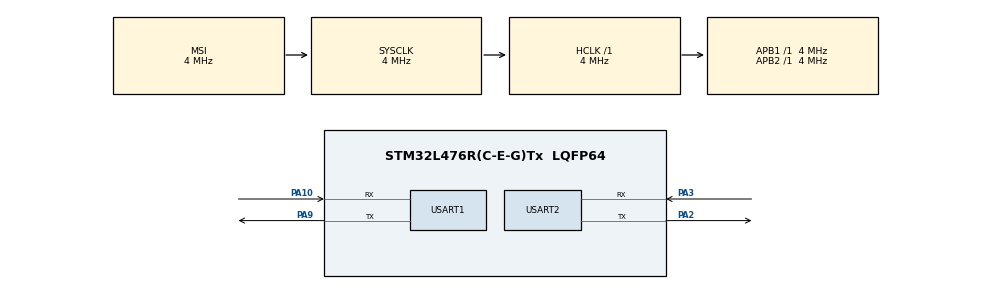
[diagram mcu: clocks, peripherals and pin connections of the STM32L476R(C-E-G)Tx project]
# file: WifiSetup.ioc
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Mcu.Family=STM32L4
Mcu.Name=STM32L476R(C-E-G)Tx
Mcu.Package=LQFP64
NVIC.PriorityGroup=NVIC_PRIORITYGROUP_4
PA10.Mode=Asynchronous
PA10.Signal=USART1_RX
PA2.Mode=Asynchronous
PA2.Signal=USART2_TX
PA3.Mode=Asynchronous
PA3.Signal=USART2_RX
PA9.Mode=Asynchronous
PA9.Signal=USART1_TX
ProjectManager.HeapSize=0x200
ProjectManager.StackSize=0x400
ProjectManager.TargetToolchain=STM32CubeIDE
RCC.ADCFreq_Value=16000000
RCC.AHBFreq_Value=4000000
RCC.APB1Freq_Value=4000000
RCC.APB1TimFreq_Value=4000000
RCC.APB2Freq_Value=4000000
RCC.APB2TimFreq_Value=4000000
RCC.CortexFreq_Value=4000000
RCC.HCLKFreq_Value=4000000
RCC.HSE_VALUE=8000000
RCC.HSI_VALUE=16000000
RCC.LSE_VALUE=32768
RCC.MSI_VALUE=4000000
RCC.SYSCLKFreq_VALUE=4000000
RCC.USBFreq_Value=16000000
RCC.VCOOutputFreq_Value=32000000
USART1.VirtualMode-Asynchronous=VM_ASYNC
USART2.VirtualMode-Asynchronous=VM_ASYNC
board=custom

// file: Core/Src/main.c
/* USER CODE BEGIN Header */
/**
  ******************************************************************************
  * @file           : main.c
  * @brief          : Main program body
  ******************************************************************************
  * @attention
  *
  * Copyright (c) 2023 STMicroelectronics.
  * All rights reserved.
  *
  * This software is licensed under terms that can be found in the LICENSE file
  * in the root directory of this software component.
  * If no LICENSE file comes with this software, it is provided AS-IS.
  *
  ******************************************************************************
  */
/* USER CODE END Header */
#include "main.h"
/* USER CODE BEGIN Includes */
#include "stdio.h"
#include "string.h"
#include <stdbool.h>
/* USER CODE END Includes */

UART_HandleTypeDef huart1;
UART_HandleTypeDef huart2;

/* USER CODE BEGIN PV */
char* wifi = "UCSB";
char* password = "Af4398R2RsgTYe2";
uint8_t ESP8266_rxBuffer[200] = {0};
uint8_t ESP8266_rxCNT = 0;
uint8_t rxDone = 0;
char response[256];
volatile uint8_t rx_complete = 0;
/* USER CODE END PV */

void SystemClock_Config(void);
static void MX_GPIO_Init(void);
static void MX_USART2_UART_Init(void);
static void MX_USART1_UART_Init(void);
/* USER CODE BEGIN PFP */

void PC_SendMessage(const char *message) {
	HAL_UART_Transmit(&huart2, (uint8_t*)message, strlen(message), HAL_MAX_DELAY);
}

void ESP_SendCommand(const char *command) {
  memset(response, 0, sizeof(response));
  HAL_UART_Transmit(&huart1, (uint8_t *)command, strlen(command), HAL_MAX_DELAY);
}

void ConnectToWifi() {
  ESP_SendCommand("AT+CWMODE=1\r\n");
  // Wait for a brief period for the ESP01 to respond
  HAL_Delay(1000);
  ESP_SendCommand("AT+CWJAP=\"UCSB\",\"Af4398R2RsgTYe2\"\r\n");
  HAL_Delay(1000);
  PC_SendMessage("Connected to Wifi");
}

void MQTT_Connect(const char *hostname, const char *deviceID, const char *sasToken) {
  char connectMsg[300];
  sprintf(connectMsg, "AT+CIPSTART=\"TCP\",\"%s\",8883\r\n", hostname);
  ESP_SendCommand(connectMsg);

  sprintf(connectMsg, "AT+CIPSEND=%d\r\n", 227);
  ESP_SendCommand(connectMsg);

  sprintf(connectMsg,
          "%s%s%s%s",
          "\x10\xD0\x00\x04\x4D\x51\x54\x54\x04\x02\x00\x0A\x00\x30",
		  deviceID,
          "\x00\x3F",
          sasToken);
  ESP_SendCommand(connectMsg);
  HAL_Delay(1000);  // Adjust delay based on ESP response time
}

void MQTT_Publish(const char *topic, const char *message) {
  char publishMsg[300];

  sprintf(publishMsg, "AT+CIPSEND=%d\r\n", 44 +strlen(message));
  ESP_SendCommand(publishMsg);

  sprintf(publishMsg,
          "%s%s%s",
          "\x32\x00\x0F",
          topic,
		  message);
  ESP_SendCommand(publishMsg);
  HAL_Delay(1000);  // Adjust delay based on ESP response time

  // Sending actual message
  ESP_SendCommand(message);
  HAL_Delay(1000);  // Adjust delay based on ESP response time
}

void HAL_UART_RxCpltCallback(UART_HandleTypeDef *huart)
{
	ESP8266_rxCNT++;

	if(ESP8266_rxCNT > 198) // Catch overflow
	{
		ESP8266_rxCNT = 1;
	}
	else if(ESP8266_rxBuffer[0] == 0x0D) // CR detected
	{
		rxDone = 1;
	}

	ESP8266_rxBuffer[ESP8266_rxCNT] = ESP8266_rxBuffer[0];

    HAL_UART_Receive_IT(&huart1, ESP8266_rxBuffer, 1);
}
/* USER CODE END PFP */

int main(void)
{

  /* MCU Configuration--------------------------------------------------------*/

  /* Reset of all peripherals, Initializes the Flash interface and the Systick. */
  HAL_Init();

  /* Configure the system clock */
  SystemClock_Config();

  /* Initialize all configured peripherals */
  MX_GPIO_Init();
  MX_USART2_UART_Init();
  MX_USART1_UART_Init();
  /* USER CODE BEGIN 2 */
  ConnectToWifi();

//  HAL_UART_Transmit(&huart2, "Connecting to Wifi...\n", strlen("Connecting to Wifi...\n"), 1000);
//  HAL_UART_Receive_IT(&huart1, ESP8266_rxBuffer, 1);
//  ConnectToWifi();
//  PC_SendMessage("Press button to send message to Azure...\n");
//  const char *message = "Hello from STM32L476RG!";
  //sendMessageToAzureIoTHub(message);
	// Connect to Azure IoT Hub using MQTT
//  connectToAzureIoTHubMQTT();
    /* USER CODE END 2 */

  /* Infinite loop */
  /* USER CODE BEGIN WHILE */
  // Start MQTT connection
  // MQTT Message Sending
  char * SASgenerate = "HostName=CapstoneProject.azure-devices.net;DeviceId=JackSTM;SharedAccessSignature=SharedAccessSignature sr=CapstoneProject.azure-devices.net%2Fdevices%2FJackSTM&sig=KWkl9QPqjwqnjv%2Ba2SfxN1npAdjidrc8F%2F%2BimJniyHA%3D&se=60000001707176904";
  char * SASToken = "SharedAccessSignature sr=CapstoneProject.azure-devices.net%2Fdevices%2FJackSTM&sig=KWkl9QPqjwqnjv%2Ba2SfxN1npAdjidrc8F%2F%2BimJniyHA%3D&se=60000001707176904";
  MQTT_Connect("CapstoneProject.azure-devices.net", "JackSTM", SASToken);

  while (1)
  {
    /* USER CODE END WHILE */
	  MQTT_Publish("devices/JackSTM/messages/events/", "Hello, Azure IoT Hub!");
	  HAL_Delay(5000);
  }
}

void SystemClock_Config(void)
{
  RCC_OscInitTypeDef RCC_OscInitStruct = {0};
  RCC_ClkInitTypeDef RCC_ClkInitStruct = {0};

  /** Configure the main internal regulator output voltage
  */
  if (HAL_PWREx_ControlVoltageScaling(PWR_REGULATOR_VOLTAGE_SCALE1) != HAL_OK)
  {
    Error_Handler();
  }

  /** Initializes the RCC Oscillators according to the specified parameters
  * in the RCC_OscInitTypeDef structure.
  */
  RCC_OscInitStruct.OscillatorType = RCC_OSCILLATORTYPE_MSI;
  RCC_OscInitStruct.MSIState = RCC_MSI_ON;
  RCC_OscInitStruct.MSICalibrationValue = 0;
  RCC_OscInitStruct.MSIClockRange = RCC_MSIRANGE_6;
  RCC_OscInitStruct.PLL.PLLState = RCC_PLL_NONE;
  if (HAL_RCC_OscConfig(&RCC_OscInitStruct) != HAL_OK)
  {
    Error_Handler();
  }

  /** Initializes the CPU, AHB and APB buses clocks
  */
  RCC_ClkInitStruct.ClockType = RCC_CLOCKTYPE_HCLK|RCC_CLOCKTYPE_SYSCLK
                              |RCC_CLOCKTYPE_PCLK1|RCC_CLOCKTYPE_PCLK2;
  RCC_ClkInitStruct.SYSCLKSource = RCC_SYSCLKSOURCE_MSI;
  RCC_ClkInitStruct.AHBCLKDivider = RCC_SYSCLK_DIV1;
  RCC_ClkInitStruct.APB1CLKDivider = RCC_HCLK_DIV1;
  RCC_ClkInitStruct.APB2CLKDivider = RCC_HCLK_DIV1;

  if (HAL_RCC_ClockConfig(&RCC_ClkInitStruct, FLASH_LATENCY_0) != HAL_OK)
  {
    Error_Handler();
  }
}

static void MX_USART1_UART_Init(void)
{

  huart1.Instance = USART1;
  huart1.Init.BaudRate = 115200;
  huart1.Init.WordLength = UART_WORDLENGTH_8B;
  huart1.Init.StopBits = UART_STOPBITS_1;
  huart1.Init.Parity = UART_PARITY_NONE;
  huart1.Init.Mode = UART_MODE_TX_RX;
  huart1.Init.HwFlowCtl = UART_HWCONTROL_NONE;
  huart1.Init.OverSampling = UART_OVERSAMPLING_16;
  huart1.Init.OneBitSampling = UART_ONE_BIT_SAMPLE_DISABLE;
  huart1.AdvancedInit.AdvFeatureInit = UART_ADVFEATURE_NO_INIT;
  if (HAL_UART_Init(&huart1) != HAL_OK)
  {
    Error_Handler();
  }

}

static void MX_USART2_UART_Init(void)
{

  huart2.Instance = USART2;
  huart2.Init.BaudRate = 115200;
  huart2.Init.WordLength = UART_WORDLENGTH_8B;
  huart2.Init.StopBits = UART_STOPBITS_1;
  huart2.Init.Parity = UART_PARITY_NONE;
  huart2.Init.Mode = UART_MODE_TX_RX;
  huart2.Init.HwFlowCtl = UART_HWCONTROL_NONE;
  huart2.Init.OverSampling = UART_OVERSAMPLING_16;
  huart2.Init.OneBitSampling = UART_ONE_BIT_SAMPLE_DISABLE;
  huart2.AdvancedInit.AdvFeatureInit = UART_ADVFEATURE_NO_INIT;
  if (HAL_UART_Init(&huart2) != HAL_OK)
  {
    Error_Handler();
  }

}

static void MX_GPIO_Init(void)
{

  /* GPIO Ports Clock Enable */
  __HAL_RCC_GPIOA_CLK_ENABLE();

/* USER CODE BEGIN MX_GPIO_Init_2 */
  __HAL_RCC_GPIOC_CLK_ENABLE();
/* USER CODE END MX_GPIO_Init_2 */
}

void Error_Handler(void)
{
  __disable_irq();
  while (1)
  {
  }
}
